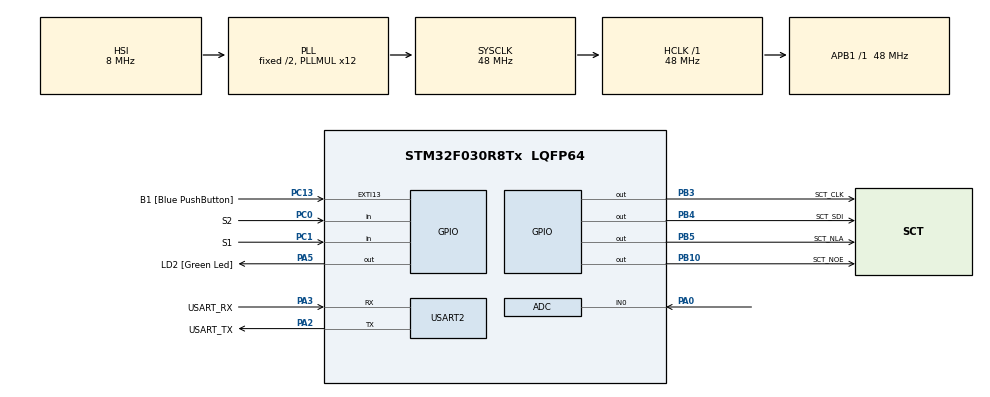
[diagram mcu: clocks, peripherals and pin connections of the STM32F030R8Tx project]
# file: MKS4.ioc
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ADC.ContinuousConvMode=ENABLE
ADC.Overrun=ADC_OVR_DATA_OVERWRITTEN
ADC.SamplingTime=ADC_SAMPLETIME_239CYCLES_5
Mcu.Family=STM32F0
Mcu.Name=STM32F030R8Tx
Mcu.Package=LQFP64
NVIC.ADC1_IRQn=true\:0\:0\:false\:false\:true\:true\:true\:true
PA0.Mode=IN0
PA0.Signal=ADC_IN0
PA13.GPIO_Label=TMS
PA13.Mode=Serial_Wire
PA13.Signal=SYS_SWDIO
PA14.GPIO_Label=TCK
PA14.Mode=Serial_Wire
PA14.Signal=SYS_SWCLK
PA2.GPIO_Label=USART_TX
PA2.GPIO_Mode=GPIO_MODE_AF_PP
PA2.GPIO_PuPd=GPIO_NOPULL
PA2.GPIO_Speed=GPIO_SPEED_FREQ_LOW
PA2.Mode=Asynchronous
PA2.Signal=USART2_TX
PA3.GPIO_Label=USART_RX
PA3.GPIO_Mode=GPIO_MODE_AF_PP
PA3.GPIO_PuPd=GPIO_NOPULL
PA3.GPIO_Speed=GPIO_SPEED_FREQ_LOW
PA3.Mode=Asynchronous
PA3.Signal=USART2_RX
PA5.GPIO_Label=LD2 [Green Led]
PA5.GPIO_Mode=GPIO_MODE_OUTPUT_PP
PA5.GPIO_PuPd=GPIO_NOPULL
PA5.GPIO_Speed=GPIO_SPEED_FREQ_LOW
PA5.Signal=GPIO_Output
PB10.GPIO_Label=SCT_NOE
PB10.Signal=GPIO_Output
PB3.GPIO_Label=SCT_CLK
PB3.Signal=GPIO_Output
PB4.GPIO_Label=SCT_SDI
PB4.Signal=GPIO_Output
PB5.GPIO_Label=SCT_NLA
PB5.Signal=GPIO_Output
PC0.GPIO_Label=S2
PC0.GPIO_PuPd=GPIO_PULLUP
PC0.Signal=GPIO_Input
PC1.GPIO_Label=S1
PC1.GPIO_PuPd=GPIO_PULLUP
PC1.Signal=GPIO_Input
PC13.GPIO_Label=B1 [Blue PushButton]
PC13.GPIO_ModeDefaultEXTI=GPIO_MODE_IT_FALLING
PC13.Signal=GPXTI13
PC14-OSC32_IN.Mode=LSE-External-Oscillator
PC14-OSC32_IN.Signal=RCC_OSC32_IN
PC15-OSC32_OUT.Mode=LSE-External-Oscillator
PC15-OSC32_OUT.Signal=RCC_OSC32_OUT
PF0-OSC_IN.Mode=HSE-External-Clock-Source
PF0-OSC_IN.Signal=RCC_OSC_IN
PF1-OSC_OUT.Signal=RCC_OSC_OUT
ProjectManager.HeapSize=0x200
ProjectManager.StackSize=0x400
ProjectManager.TargetToolchain=STM32CubeIDE
RCC.AHBFreq_Value=48000000
RCC.APB1Freq_Value=48000000
RCC.APB1TimFreq_Value=48000000
RCC.HCLKFreq_Value=48000000
RCC.PLLMUL=RCC_PLL_MUL12
RCC.SYSCLKFreq_VALUE=48000000
RCC.SYSCLKSource=RCC_SYSCLKSOURCE_PLLCLK
USART2.VirtualMode-Asynchronous=VM_ASYNC
VP_ADC_TempSens_Input.Mode=IN-TempSens
VP_ADC_Vref_Input.Mode=IN-Vrefint
board=NUCLEO-F030R8

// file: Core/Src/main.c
/* USER CODE BEGIN Header */
/**
  ******************************************************************************
  * @file           : main.c
  * @brief          : Main program body
  ******************************************************************************
  * @attention
  *
  * Copyright (c) 2024 STMicroelectronics.
  * All rights reserved.
  *
  * This software is licensed under terms that can be found in the LICENSE file
  * in the root directory of this software component.
  * If no LICENSE file comes with this software, it is provided AS-IS.
  *
  ******************************************************************************
  */
/* USER CODE END Header */
#include "main.h"

/* USER CODE BEGIN Includes */
#include "sct.h"
/* USER CODE END Includes */

/* USER CODE BEGIN PD */
#define ADC_Q 12
/* Temperature sensor calibration value address */
#define TEMP110_CAL_ADDR ((uint16_t*) ((uint32_t) 0x1FFFF7C2))
#define TEMP30_CAL_ADDR ((uint16_t*) ((uint32_t) 0x1FFFF7B8))
/* Internal voltage reference calibration value address */
#define VREFINT_CAL_ADDR ((uint16_t*) ((uint32_t) 0x1FFFF7BA))
/* USER CODE END PD */

ADC_HandleTypeDef hadc;

UART_HandleTypeDef huart2;

/* USER CODE BEGIN PV */
static volatile uint32_t raw_pot;
static volatile uint32_t raw_volt;
static volatile uint32_t raw_temp;
/* USER CODE END PV */

void SystemClock_Config(void);
static void MX_GPIO_Init(void);
static void MX_USART2_UART_Init(void);
static void MX_ADC_Init(void);

/* USER CODE BEGIN 0 */
void HAL_ADC_ConvCpltCallback(ADC_HandleTypeDef* hadc)
{
  static uint8_t channel;
  static uint32_t avg_pot;

  switch (channel)
  {
  case 0: // ADC_CHANNEL_0 - potentiometer
    raw_pot = avg_pot >> ADC_Q;
    avg_pot -= raw_pot;
    avg_pot += HAL_ADC_GetValue(hadc);
    break;

  case 1: // ADC_CHANNEL_TEMPSENSOR
    raw_temp = HAL_ADC_GetValue(hadc);
    break;

  case 2: // ADC_CHANNEL_VREFINT
    raw_volt = HAL_ADC_GetValue(hadc);
    break;

  default:
    break;
  }

  if (__HAL_ADC_GET_FLAG(hadc, ADC_FLAG_EOS)) channel = 0;
  else channel++;
}
/* USER CODE END 0 */

int main(void)
{

  /* MCU Configuration--------------------------------------------------------*/

  /* Reset of all peripherals, Initializes the Flash interface and the Systick. */
  HAL_Init();

  /* Configure the system clock */
  SystemClock_Config();

  /* Initialize all configured peripherals */
  MX_GPIO_Init();
  MX_USART2_UART_Init();
  MX_ADC_Init();
  /* USER CODE BEGIN 2 */
  HAL_ADCEx_Calibration_Start(&hadc);
  HAL_ADC_Start_IT(&hadc);

  sct_init();
  /* USER CODE END 2 */

  /* Infinite loop */
  /* USER CODE BEGIN WHILE */
  while (1)
  {
    //uint32_t scaled_value = (raw_pot * 501) / 4095;
    //sct_value(scaled_value, 0);

    static enum {
			SHOW_POT, SHOW_VOLT, SHOW_TEMP
		} state = SHOW_POT;

    static uint32_t time;

    if (HAL_GPIO_ReadPin(S1_GPIO_Port, S1_Pin) == 0) {
			state = SHOW_TEMP;
			time = HAL_GetTick();
		}

		if (HAL_GPIO_ReadPin(S2_GPIO_Port, S2_Pin) == 0) {
			state = SHOW_VOLT;
			time = HAL_GetTick();
		}

		if (HAL_GetTick() > (time + 1000)){
			state = SHOW_POT;
		}

		switch (state) {
		case SHOW_POT:
			sct_value((raw_pot * 501) / 4096, (raw_pot * 9) / 4096); // normalized to 0-500 on display and 0-8 on LED bar
			break;

		case SHOW_TEMP:
			int32_t temperature = (raw_temp - (int32_t) (*TEMP30_CAL_ADDR));
			temperature = temperature * (int32_t) (110 - 30);
			temperature = temperature / (int32_t) (*TEMP110_CAL_ADDR - *TEMP30_CAL_ADDR); //
			temperature = temperature + 30;
			sct_value(temperature, 0);
			break;

		case SHOW_VOLT:
			uint32_t voltage = 330 * (*VREFINT_CAL_ADDR) / raw_volt;
			sct_value(voltage, 0);
			break;

    default:
      break;
		}

    HAL_Delay(50);
    /* USER CODE END WHILE */

  }
}

void SystemClock_Config(void)
{
  RCC_OscInitTypeDef RCC_OscInitStruct = {0};
  RCC_ClkInitTypeDef RCC_ClkInitStruct = {0};

  /** Initializes the RCC Oscillators according to the specified parameters
  * in the RCC_OscInitTypeDef structure.
  */
  RCC_OscInitStruct.OscillatorType = RCC_OSCILLATORTYPE_HSI|RCC_OSCILLATORTYPE_HSI14;
  RCC_OscInitStruct.HSIState = RCC_HSI_ON;
  RCC_OscInitStruct.HSI14State = RCC_HSI14_ON;
  RCC_OscInitStruct.HSICalibrationValue = RCC_HSICALIBRATION_DEFAULT;
  RCC_OscInitStruct.HSI14CalibrationValue = 16;
  RCC_OscInitStruct.PLL.PLLState = RCC_PLL_ON;
  RCC_OscInitStruct.PLL.PLLSource = RCC_PLLSOURCE_HSI;
  RCC_OscInitStruct.PLL.PLLMUL = RCC_PLL_MUL12;
  RCC_OscInitStruct.PLL.PREDIV = RCC_PREDIV_DIV1;
  if (HAL_RCC_OscConfig(&RCC_OscInitStruct) != HAL_OK)
  {
    Error_Handler();
  }

  /** Initializes the CPU, AHB and APB buses clocks
  */
  RCC_ClkInitStruct.ClockType = RCC_CLOCKTYPE_HCLK|RCC_CLOCKTYPE_SYSCLK
                              |RCC_CLOCKTYPE_PCLK1;
  RCC_ClkInitStruct.SYSCLKSource = RCC_SYSCLKSOURCE_PLLCLK;
  RCC_ClkInitStruct.AHBCLKDivider = RCC_SYSCLK_DIV1;
  RCC_ClkInitStruct.APB1CLKDivider = RCC_HCLK_DIV1;

  if (HAL_RCC_ClockConfig(&RCC_ClkInitStruct, FLASH_LATENCY_1) != HAL_OK)
  {
    Error_Handler();
  }
}

static void MX_ADC_Init(void)
{

  ADC_ChannelConfTypeDef sConfig = {0};

  /** Configure the global features of the ADC (Clock, Resolution, Data Alignment and number of conversion)
  */
  hadc.Instance = ADC1;
  hadc.Init.ClockPrescaler = ADC_CLOCK_ASYNC_DIV1;
  hadc.Init.Resolution = ADC_RESOLUTION_12B;
  hadc.Init.DataAlign = ADC_DATAALIGN_RIGHT;
  hadc.Init.ScanConvMode = ADC_SCAN_DIRECTION_FORWARD;
  hadc.Init.EOCSelection = ADC_EOC_SINGLE_CONV;
  hadc.Init.LowPowerAutoWait = DISABLE;
  hadc.Init.LowPowerAutoPowerOff = DISABLE;
  hadc.Init.ContinuousConvMode = ENABLE;
  hadc.Init.DiscontinuousConvMode = DISABLE;
  hadc.Init.ExternalTrigConv = ADC_SOFTWARE_START;
  hadc.Init.ExternalTrigConvEdge = ADC_EXTERNALTRIGCONVEDGE_NONE;
  hadc.Init.DMAContinuousRequests = DISABLE;
  hadc.Init.Overrun = ADC_OVR_DATA_OVERWRITTEN;
  if (HAL_ADC_Init(&hadc) != HAL_OK)
  {
    Error_Handler();
  }

  /** Configure for the selected ADC regular channel to be converted.
  */
  sConfig.Channel = ADC_CHANNEL_0;
  sConfig.Rank = ADC_RANK_CHANNEL_NUMBER;
  sConfig.SamplingTime = ADC_SAMPLETIME_239CYCLES_5;
  if (HAL_ADC_ConfigChannel(&hadc, &sConfig) != HAL_OK)
  {
    Error_Handler();
  }

  /** Configure for the selected ADC regular channel to be converted.
  */
  sConfig.Channel = ADC_CHANNEL_TEMPSENSOR;
  if (HAL_ADC_ConfigChannel(&hadc, &sConfig) != HAL_OK)
  {
    Error_Handler();
  }

  /** Configure for the selected ADC regular channel to be converted.
  */
  sConfig.Channel = ADC_CHANNEL_VREFINT;
  if (HAL_ADC_ConfigChannel(&hadc, &sConfig) != HAL_OK)
  {
    Error_Handler();
  }

}

static void MX_USART2_UART_Init(void)
{

  huart2.Instance = USART2;
  huart2.Init.BaudRate = 38400;
  huart2.Init.WordLength = UART_WORDLENGTH_8B;
  huart2.Init.StopBits = UART_STOPBITS_1;
  huart2.Init.Parity = UART_PARITY_NONE;
  huart2.Init.Mode = UART_MODE_TX_RX;
  huart2.Init.HwFlowCtl = UART_HWCONTROL_NONE;
  huart2.Init.OverSampling = UART_OVERSAMPLING_16;
  huart2.Init.OneBitSampling = UART_ONE_BIT_SAMPLE_DISABLE;
  huart2.AdvancedInit.AdvFeatureInit = UART_ADVFEATURE_NO_INIT;
  if (HAL_UART_Init(&huart2) != HAL_OK)
  {
    Error_Handler();
  }

}

static void MX_GPIO_Init(void)
{
  GPIO_InitTypeDef GPIO_InitStruct = {0};

  /* GPIO Ports Clock Enable */
  __HAL_RCC_GPIOC_CLK_ENABLE();
  __HAL_RCC_GPIOF_CLK_ENABLE();
  __HAL_RCC_GPIOA_CLK_ENABLE();
  __HAL_RCC_GPIOB_CLK_ENABLE();

  /*Configure GPIO pin Output Level */
  HAL_GPIO_WritePin(LD2_GPIO_Port, LD2_Pin, GPIO_PIN_RESET);

  /*Configure GPIO pin Output Level */
  HAL_GPIO_WritePin(GPIOB, SCT_NOE_Pin|SCT_CLK_Pin|SCT_SDI_Pin|SCT_NLA_Pin, GPIO_PIN_RESET);

  /*Configure GPIO pin : B1_Pin */
  GPIO_InitStruct.Pin = B1_Pin;
  GPIO_InitStruct.Mode = GPIO_MODE_IT_FALLING;
  GPIO_InitStruct.Pull = GPIO_NOPULL;
  HAL_GPIO_Init(B1_GPIO_Port, &GPIO_InitStruct);

  /*Configure GPIO pins : S2_Pin S1_Pin */
  GPIO_InitStruct.Pin = S2_Pin|S1_Pin;
  GPIO_InitStruct.Mode = GPIO_MODE_INPUT;
  GPIO_InitStruct.Pull = GPIO_PULLUP;
  HAL_GPIO_Init(GPIOC, &GPIO_InitStruct);

  /*Configure GPIO pin : LD2_Pin */
  GPIO_InitStruct.Pin = LD2_Pin;
  GPIO_InitStruct.Mode = GPIO_MODE_OUTPUT_PP;
  GPIO_InitStruct.Pull = GPIO_NOPULL;
  GPIO_InitStruct.Speed = GPIO_SPEED_FREQ_LOW;
  HAL_GPIO_Init(LD2_GPIO_Port, &GPIO_InitStruct);

  /*Configure GPIO pins : SCT_NOE_Pin SCT_CLK_Pin SCT_SDI_Pin SCT_NLA_Pin */
  GPIO_InitStruct.Pin = SCT_NOE_Pin|SCT_CLK_Pin|SCT_SDI_Pin|SCT_NLA_Pin;
  GPIO_InitStruct.Mode = GPIO_MODE_OUTPUT_PP;
  GPIO_InitStruct.Pull = GPIO_NOPULL;
  GPIO_InitStruct.Speed = GPIO_SPEED_FREQ_LOW;
  HAL_GPIO_Init(GPIOB, &GPIO_InitStruct);

}

void Error_Handler(void)
{
  __disable_irq();
  while (1)
  {
  }
}
